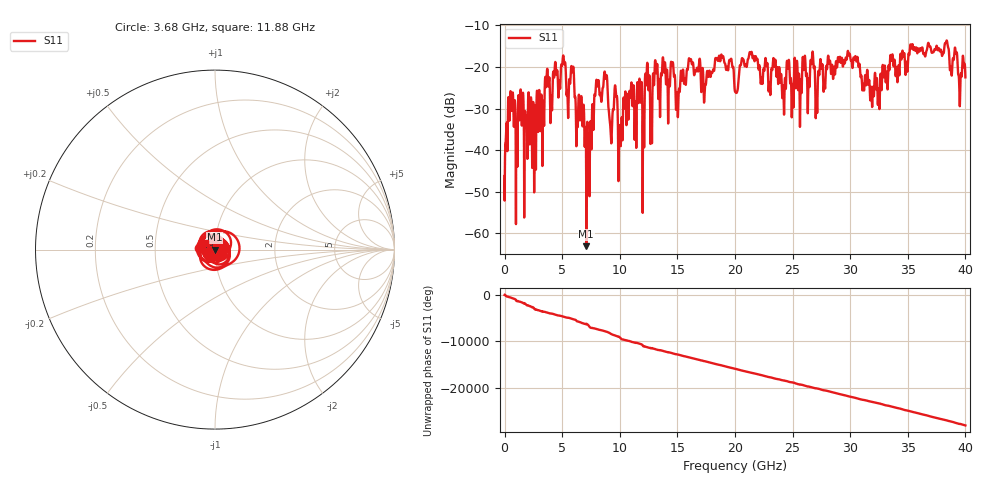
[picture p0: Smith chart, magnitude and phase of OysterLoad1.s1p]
! File created by SignalIntegrity v1.1.1: Signal and Power Integrity Tools
! https://github.com/TeledyneLeCroy/SignalIntegrity
# MHz MA S R 50.0
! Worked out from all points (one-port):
!   8000 points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, 5 MHz to 40 GHz, reference 50 ohm
!   lowest |S11| = -63.1 dB at 7.095 GHz (marker M1), VSWR 1.00, Z = 49.9 + j0.0452 ohm
!   |S11| at or under -10 dB: start of sweep to end of sweep
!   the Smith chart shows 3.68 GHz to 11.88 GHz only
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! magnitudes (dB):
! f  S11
! 5 MHz  -46.2
! 515 MHz  -25.8
! 2.555 GHz  -38.8
! 5.005 GHz  -19.6
! 5.9 GHz  -21.1
! 7.095 GHz  -63.1
! 7.42 GHz  -36.9
! 7.985 GHz  -23.1
! 8.735 GHz  -22.0
! 9.17 GHz  -33.9
! 9.62 GHz  -24.7
! 10.01 GHz  -34.0
! 11.02 GHz  -23.8
! 11.97 GHz  -34.2
! 12.39 GHz  -19.0
! 12.8 GHz  -35.5
! 13.09 GHz  -18.4
! 14.6 GHz  -18.9
! 15.01 GHz  -28.7
! 16.15 GHz  -18.2
! 20 GHz  -25.9
! 21.41 GHz  -16.5
! 25 GHz  -24.1
! 30 GHz  -17.5
! 31.89 GHz  -28.9
! 35.01 GHz  -19.3
! 38.36 GHz  -13.7
! 40 GHz  -22.5
